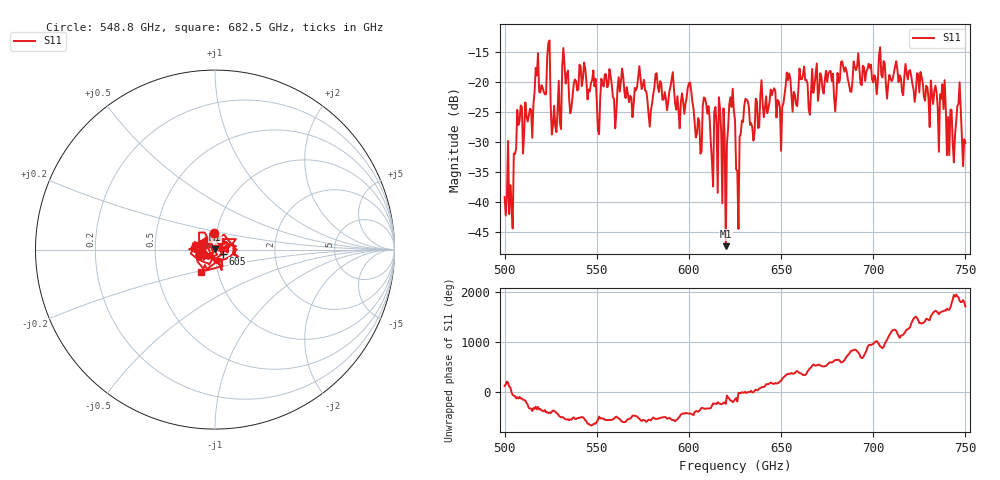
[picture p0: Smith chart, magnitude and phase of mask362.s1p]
!Created with skrf (http://scikit-rf.org).
# GHz S MA R 50.0
!freq magS11 angS11
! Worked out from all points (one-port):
!   401 points, 500 GHz to 750 GHz, reference 50 ohm
!   lowest |S11| = -47.4 dB at 620 GHz (marker M1), VSWR 1.01, Z = 49.7 + j0.343 ohm
!   |S11| at or under -10 dB: start of sweep to end of sweep
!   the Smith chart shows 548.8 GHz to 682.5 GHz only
!   S11 on the Smith chart (normalised r, x): 548.8 GHz: 0.97, +0.18; 605 GHz: 1.09, -0.06; 682.5 GHz: 0.83, -0.21
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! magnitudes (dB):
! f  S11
! 500 GHz  -39.2
! 503.8 GHz  -40.1
! 508.1 GHz  -26.4
! 517.5 GHz  -18.9
! 523.8 GHz  -13.4
! 526.9 GHz  -23.9
! 531.2 GHz  -17.4
! 548.8 GHz  -20.7
! 562.5 GHz  -21.5
! 593.8 GHz  -22.3
! 600.6 GHz  -20.0
! 605 GHz  -26.0
! 609.4 GHz  -23.6
! 611.9 GHz  -30.0
! 620 GHz  -47.4
! 623.1 GHz  -24.1
! 625 GHz  -26.3
! 626.9 GHz  -44.5
! 631.2 GHz  -22.9
! 634.4 GHz  -27.5
! 656.2 GHz  -24.9
! 682.5 GHz  -16.6
! 687.5 GHz  -21.5
! 718.8 GHz  -19.5
! 737.5 GHz  -20.3
! 742.5 GHz  -24.6
! 746.2 GHz  -23.6
! 750 GHz  -30.1
